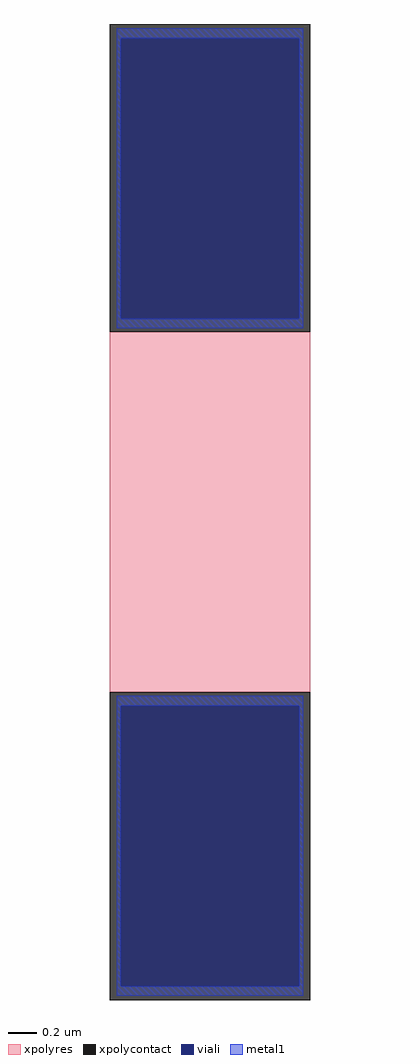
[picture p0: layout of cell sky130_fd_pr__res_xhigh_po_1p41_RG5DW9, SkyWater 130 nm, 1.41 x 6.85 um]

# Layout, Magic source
magic
tech sky130A
magscale 1 2
<< xpolycontact >>
rect -141 253 141 685
rect -141 -685 141 -253
<< xpolyres >>
rect -141 -253 141 253
<< viali >>
rect -125 271 125 665
rect -125 -666 125 -272
<< metal1 >>
rect -131 665 131 679
rect -131 271 -125 665
rect 125 271 131 665
rect -131 258 131 271
rect -131 -272 131 -258
rect -131 -666 -125 -272
rect 125 -666 131 -272
rect -131 -679 131 -666
<< end >>
